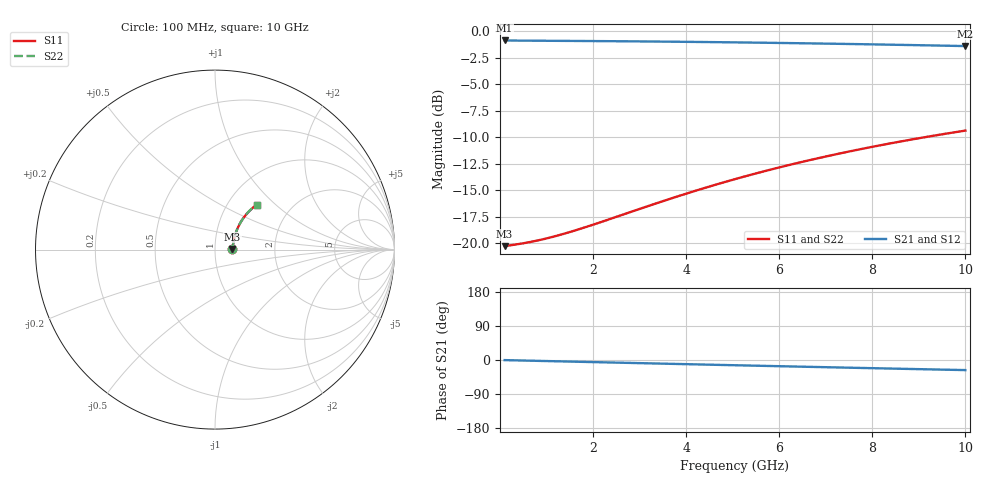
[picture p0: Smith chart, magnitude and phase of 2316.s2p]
# Hz S RI R 50.00
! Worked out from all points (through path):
!   100 points, 100 MHz to 10 GHz, reference 50 ohm
!   highest |S21| = -0.89 dB at 100 MHz (marker M1); lowest = -1.4 dB at 10 GHz (marker M2)
!   group delay of S21, straight-line fit = 7.42 ps
!   lowest |S11| = -20.3 dB at 100 MHz (marker M3), VSWR 1.21, Z = 60.7 + j0.376 ohm
!   |S11| at or under -10 dB: start of sweep to 9.128 GHz
!   |S22| runs from -20.3 to -9.4 dB; largest |S21 - S12| = 0
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1e8  0.097 0.00306  0.903 -0.00437  0.903 -0.00437  0.097 0.00306
5e8  0.0989 0.0152  0.901 -0.0218  0.901 -0.0218  0.0989 0.0152
7e8  0.0998 0.0213  0.9002 -0.0305  0.9002 -0.0305  0.0998 0.0213
9e8  0.1006 0.0273  0.8993 -0.0391  0.8993 -0.0391  0.1006 0.0273
1.1e9  0.1015 0.0334  0.8984 -0.0478  0.8984 -0.0478  0.1015 0.0334
1.3e9  0.1025 0.0394  0.8973 -0.0564  0.8973 -0.0564  0.1025 0.0394
1.5e9  0.1036 0.0453  0.8962 -0.065  0.8962 -0.065  0.1036 0.0453
1.8e9  0.1054 0.0542  0.8943 -0.0778  0.8943 -0.0778  0.1054 0.0542
2.6e9  0.1112 0.0777  0.8882 -0.1118  0.8882 -0.1118  0.1112 0.0777
3.4e9  0.1186 0.1005  0.8803 -0.1451  0.8803 -0.1451  0.1186 0.1005
3.9e9  0.124 0.1143  0.8746 -0.1655  0.8746 -0.1655  0.124 0.1143
4.3e9  0.1288 0.1252  0.8695 -0.1817  0.8695 -0.1817  0.1288 0.1252
4.7e9  0.134 0.1358  0.864 -0.1976  0.864 -0.1976  0.134 0.1358
5.1e9  0.1395 0.1462  0.8581 -0.2132  0.8581 -0.2132  0.1395 0.1462
5.5e9  0.1454 0.1563  0.8518 -0.2286  0.8518 -0.2286  0.1454 0.1563
5.9e9  0.1516 0.1662  0.8452 -0.2438  0.8452 -0.2438  0.1516 0.1662
6.3e9  0.1582 0.1757  0.8382 -0.2586  0.8382 -0.2586  0.1582 0.1757
6.7e9  0.1651 0.185  0.8308 -0.2732  0.8308 -0.2732  0.1651 0.185
7.5e9  0.1796 0.2026  0.8152 -0.3014  0.8152 -0.3014  0.1796 0.2026
8.4e9  0.1973 0.2208  0.7962 -0.3315  0.7962 -0.3315  0.1973 0.2208
9.2e9  0.214 0.2355  0.7782 -0.3569  0.7782 -0.3569  0.214 0.2355
1e10  0.2314 0.2488  0.7594 -0.3809  0.7594 -0.3809  0.2314 0.2488
